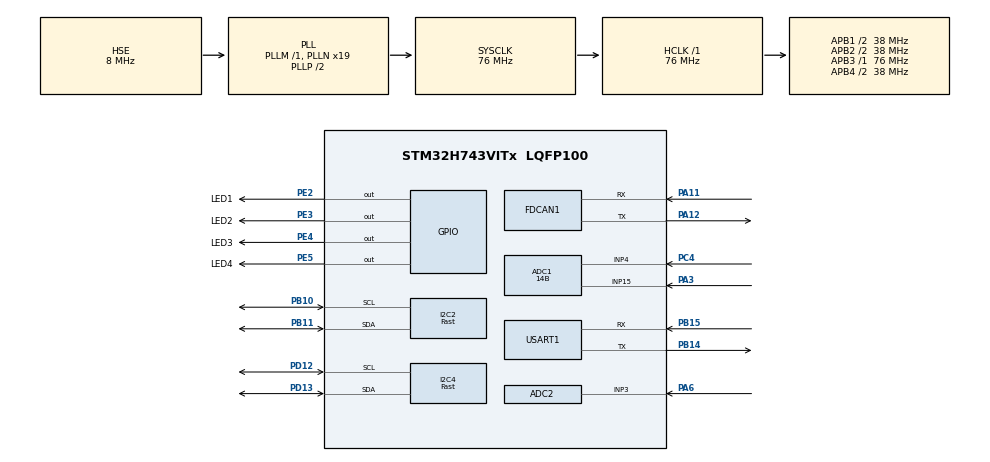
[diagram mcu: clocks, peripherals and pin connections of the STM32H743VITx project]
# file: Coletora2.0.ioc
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ADC1.Channel-0\#ChannelRegularConversion=ADC_CHANNEL_4
ADC1.ClockPrescaler=ADC_CLOCK_ASYNC_DIV6
ADC1.ContinuousConvMode=ENABLE
ADC1.EOCSelection=ADC_EOC_SINGLE_CONV
ADC1.NbrOfConversion=1
ADC1.NbrOfConversionFlag=1
ADC1.OffsetNumber-0\#ChannelRegularConversion=ADC_OFFSET_NONE
ADC1.OffsetSignedSaturation-0\#ChannelRegularConversion=DISABLE
ADC1.Rank-0\#ChannelRegularConversion=1
ADC1.Resolution=ADC_RESOLUTION_14B
ADC1.SamplingTime-0\#ChannelRegularConversion=ADC_SAMPLETIME_32CYCLES_5
ADC1.master=1
ADC2.Channel-1\#ChannelRegularConversion=ADC_CHANNEL_3
ADC2.ClockPrescaler=ADC_CLOCK_ASYNC_DIV6
ADC2.NbrOfConversionFlag=1
ADC2.OffsetNumber-1\#ChannelRegularConversion=ADC_OFFSET_NONE
ADC2.OffsetSignedSaturation-1\#ChannelRegularConversion=DISABLE
ADC2.Rank-1\#ChannelRegularConversion=1
ADC2.Resolution=ADC_RESOLUTION_14B
ADC2.SamplingTime-1\#ChannelRegularConversion=ADC_SAMPLETIME_32CYCLES_5
FDCAN1.DataSyncJumpWidth=2
FDCAN1.DataTimeSeg1=13
FDCAN1.DataTimeSeg2=2
FDCAN1.NominalSyncJumpWidth=2
FDCAN1.NominalTimeSeg1=13
FDCAN1.RxBuffersNbr=64
FDCAN1.RxFifo0ElmtsNbr=64
FDCAN1.RxFifo1ElmtsNbr=64
FDCAN1.TxBuffersNbr=32
FDCAN1.TxEventsNbr=32
FDCAN1.TxFifoQueueElmtsNbr=32
I2C2.CustomTiming=Enabled
I2C2.I2C_Speed_Mode=I2C_Fast
I2C2.Timing=0x009034B6
I2C4.CustomTiming=Enabled
I2C4.I2C_Speed_Mode=I2C_Fast
I2C4.Timing=0x10C0ECFF
Mcu.Family=STM32H7
Mcu.Name=STM32H743VITx
Mcu.Package=LQFP100
NVIC.FDCAN1_IT0_IRQn=true\:0\:0\:true\:false\:true\:true\:true
NVIC.FDCAN1_IT1_IRQn=true\:0\:0\:false\:false\:true\:true\:true
NVIC.PriorityGroup=NVIC_PRIORITYGROUP_4
PA11.Mode=FDCAN_Activate
PA11.Signal=FDCAN1_RX
PA12.Mode=FDCAN_Activate
PA12.Signal=FDCAN1_TX
PA13\ (JTMS/SWDIO).Mode=Serial_Wire
PA13\ (JTMS/SWDIO).Signal=DEBUG_JTMS-SWDIO
PA14\ (JTCK/SWCLK).Mode=Serial_Wire
PA14\ (JTCK/SWCLK).Signal=DEBUG_JTCK-SWCLK
PA3.Signal=ADCx_INP15
PA6.Signal=ADCx_INP3
PB10.GPIO_Pu=GPIO_PULLUP
PB10.Mode=I2C
PB10.Signal=I2C2_SCL
PB11.GPIO_Pu=GPIO_PULLUP
PB11.Mode=I2C
PB11.Signal=I2C2_SDA
PB14.Mode=Asynchronous
PB14.Signal=USART1_TX
PB15.Mode=Asynchronous
PB15.Signal=USART1_RX
PC4.Signal=ADCx_INP4
PD12.GPIO_Pu=GPIO_PULLUP
PD12.Mode=I2C
PD12.Signal=I2C4_SCL
PD13.GPIO_Pu=GPIO_PULLUP
PD13.Mode=I2C
PD13.Signal=I2C4_SDA
PE2.GPIO_Label=LED1
PE2.Signal=GPIO_Output
PE3.GPIO_Label=LED2
PE3.Signal=GPIO_Output
PE4.GPIO_Label=LED3
PE4.Signal=GPIO_Output
PE5.GPIO_Label=LED4
PE5.Signal=GPIO_Output
PH0-OSC_IN\ (PH0).Mode=HSE-External-Oscillator
PH0-OSC_IN\ (PH0).Signal=RCC_OSC_IN
PH1-OSC_OUT\ (PH1).Mode=HSE-External-Oscillator
PH1-OSC_OUT\ (PH1).Signal=RCC_OSC_OUT
ProjectManager.HeapSize=0x200
ProjectManager.StackSize=0x400
ProjectManager.TargetToolchain=STM32CubeIDE
RCC.ADCFreq_Value=37500000
RCC.APB1Freq_Value=38000000
RCC.APB2Freq_Value=38000000
RCC.APB3Freq_Value=76000000
RCC.APB4Freq_Value=38000000
RCC.CortexFreq_Value=76000000
RCC.D2PPRE1=RCC_APB1_DIV2
RCC.D2PPRE2=RCC_APB2_DIV2
RCC.D3PPRE=RCC_APB4_DIV2
RCC.DIVM1=1
RCC.DIVM2=1
RCC.DIVM3=1
RCC.DIVN1=19
RCC.DIVN2=18
RCC.DIVN3=100
RCC.DIVP2=4
RCC.DIVQ1=19
RCC.DIVQ2=4
RCC.FDCANCLockSelection=RCC_FDCANCLKSOURCE_HSE
RCC.HCLKFreq_Value=76000000
RCC.HSE_VALUE=8000000
RCC.PLL1_VCI_Range-AdvancedSettings=RCC_PLL1VCIRANGE_0
RCC.PLL2FRACN=6144
RCC.PLL2_VCI_Range-AdvancedSettings=RCC_PLL2VCIRANGE_0
RCC.PLL3FRACN=0
RCC.PLL3_VCI_Range-AdvancedSettings=RCC_PLL3VCIRANGE_0
RCC.PLLFRACN=0
RCC.PLLSourceVirtual=RCC_PLLSOURCE_HSE
RCC.SYSCLKFreq_VALUE=76000000
RCC.SYSCLKSource=RCC_SYSCLKSOURCE_PLLCLK
RCC.USBFreq_Value=8000000
SH.ADCx_INP15.0=ADC1_INP15,IN15-Single-Ended
SH.ADCx_INP3.0=ADC2_INP3,IN3-Single-Ended
SH.ADCx_INP4.0=ADC1_INP4,IN4-Single-Ended
USART1.VirtualMode-Asynchronous=VM_ASYNC
board=custom

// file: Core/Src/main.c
/* USER CODE BEGIN Header */
/**
  ******************************************************************************
  * @file           : main.c
  * @brief          : Main program body
  ******************************************************************************
  * @attention
  *
  * <h2><center>&copy; Copyright (c) 2021 STMicroelectronics.
  * All rights reserved.</center></h2>
  *
  * This software component is licensed by ST under BSD 3-Clause license,
  * the "License"; You may not use this file except in compliance with the
  * License. You may obtain a copy of the License at:
  *                        opensource.org/licenses/BSD-3-Clause
  *
  ******************************************************************************
  */
/* USER CODE END Header */
#include "main.h"

/* USER CODE BEGIN Includes */
#include <stdarg.h>
#include "adc.h"
#include "general_can.h"
#include "initializers.h"
/* USER CODE END Includes */

ADC_HandleTypeDef hadc1;
ADC_HandleTypeDef hadc2;

FDCAN_HandleTypeDef hfdcan1;

I2C_HandleTypeDef hi2c2;
I2C_HandleTypeDef hi2c4;

UART_HandleTypeDef huart1;

void SystemClock_Config(void);
void PeriphCommonClock_Config(void);
static void MX_GPIO_Init(void);
void MX_ADC1_Init(void);
static void MX_FDCAN1_Init(void);
static void MX_I2C2_Init(void);
static void MX_I2C4_Init(void);
static void MX_USART1_UART_Init(void);
void MX_ADC2_Init(void);

int main(void)
{
  /* USER CODE BEGIN 1 */

	uint16_t ADC_value[4] = {0,0,0,0};
	uint32_t id = 10;
  /* USER CODE END 1 */

  /* MCU Configuration--------------------------------------------------------*/

  /* Reset of all peripherals, Initializes the Flash interface and the Systick. */
  HAL_Init();

  /* Configure the system clock */
  SystemClock_Config();

/* Configure the peripherals common clocks */
  PeriphCommonClock_Config();

  /* Initialize all configured peripherals */
  MX_GPIO_Init();
  MX_ADC1_Init();
  MX_FDCAN1_Init();
  MX_I2C2_Init();
  MX_I2C4_Init();
  MX_USART1_UART_Init();
  MX_ADC2_Init();
  /* USER CODE BEGIN 2 */
  init_CAN();
	HAL_GPIO_TogglePin(LED3_GPIO_Port, LED3_Pin);
  //HAL_ADCEx_Calibration_Start(&hadc1, ADC_LINEAR_CALIB_REG_1_ADDR, ADC_SINGLE_ENDED);
  //HAL_ADCEx_Calibration_Start(&hadc2, ADC_LINEAR_CALIB_REG_2_ADDR, ADC_SINGLE_ENDED);
  /* USER CODE END 2 */

  /* Infinite loop */
   while (1)
  {

    /* USER CODE BEGIN 3 */
	  /****************ADC code**********************/

	   //Time conversion = sample time + 7,5 clocks cycles;
	   //We are using a sample time of 32.5 cycles and a clock of 80MHz, so time conversion is 40 cycles or 0,5µs

	   /*ADC_Select_CH4();
	   HAL_ADC_Start(&hadc1);
	   HAL_ADC_PollForConversion(&hadc1, 0.0005);
	   ADC_value[0] = HAL_ADC_GetValue(&hadc1);
	   UART_print("Leitura canal 4: %d\t", ADC_value[0]);
	   HAL_ADC_Stop(&hadc1);*/

//--------------------------------------------------------------------------

	   //ADC_Select_CH15();
	   //HAL_ADC_Start(&hadc1);
	   //HAL_ADC_PollForConversion(&hadc1, 0.0005);
	   //ADC_value[1] = HAL_ADC_GetValue(&hadc1);
	   //UART_print("Leitura canal 15: %d\t", ADC_value[1]);
//	   ADC_value[0]++;
	   general_can_transmit(id, ADC_value);
	   HAL_Delay(100);
	   //HAL_ADC_Stop(&hadc1);

//--------------------------------------------------------------------------

	   /*HAL_ADC_Start(&hadc2);
	   HAL_ADC_PollForConversion(&hadc2, 0.0005);
	   ADC_value[2] = HAL_ADC_GetValue(&hadc2);
	   UART_print("Leitura adc2: %d\n", ADC_value[2]);
	   HAL_ADC_Stop(&hadc2);*/

	   /**************end ADC code********************/
  }
  /* USER CODE END 3 */
}

void SystemClock_Config(void)
{
  RCC_OscInitTypeDef RCC_OscInitStruct = {0};
  RCC_ClkInitTypeDef RCC_ClkInitStruct = {0};

  /** Supply configuration update enable
  */
  HAL_PWREx_ConfigSupply(PWR_LDO_SUPPLY);
  /** Configure the main internal regulator output voltage
  */
  __HAL_PWR_VOLTAGESCALING_CONFIG(PWR_REGULATOR_VOLTAGE_SCALE3);

  while(!__HAL_PWR_GET_FLAG(PWR_FLAG_VOSRDY)) {}
  /** Macro to configure the PLL clock source
  */
  __HAL_RCC_PLL_PLLSOURCE_CONFIG(RCC_PLLSOURCE_HSE);
  /** Initializes the RCC Oscillators according to the specified parameters
  * in the RCC_OscInitTypeDef structure.
  */
  RCC_OscInitStruct.OscillatorType = RCC_OSCILLATORTYPE_HSE;
  RCC_OscInitStruct.HSEState = RCC_HSE_ON;
  RCC_OscInitStruct.PLL.PLLState = RCC_PLL_ON;
  RCC_OscInitStruct.PLL.PLLSource = RCC_PLLSOURCE_HSE;
  RCC_OscInitStruct.PLL.PLLM = 1;
  RCC_OscInitStruct.PLL.PLLN = 19;
  RCC_OscInitStruct.PLL.PLLP = 2;
  RCC_OscInitStruct.PLL.PLLQ = 19;
  RCC_OscInitStruct.PLL.PLLR = 2;
  RCC_OscInitStruct.PLL.PLLRGE = RCC_PLL1VCIRANGE_3;
  RCC_OscInitStruct.PLL.PLLVCOSEL = RCC_PLL1VCOMEDIUM;
  RCC_OscInitStruct.PLL.PLLFRACN = 0;
  if (HAL_RCC_OscConfig(&RCC_OscInitStruct) != HAL_OK)
  {
    Error_Handler();
  }
  /** Initializes the CPU, AHB and APB buses clocks
  */
  RCC_ClkInitStruct.ClockType = RCC_CLOCKTYPE_HCLK|RCC_CLOCKTYPE_SYSCLK
                              |RCC_CLOCKTYPE_PCLK1|RCC_CLOCKTYPE_PCLK2
                              |RCC_CLOCKTYPE_D3PCLK1|RCC_CLOCKTYPE_D1PCLK1;
  RCC_ClkInitStruct.SYSCLKSource = RCC_SYSCLKSOURCE_PLLCLK;
  RCC_ClkInitStruct.SYSCLKDivider = RCC_SYSCLK_DIV1;
  RCC_ClkInitStruct.AHBCLKDivider = RCC_HCLK_DIV1;
  RCC_ClkInitStruct.APB3CLKDivider = RCC_APB3_DIV1;
  RCC_ClkInitStruct.APB1CLKDivider = RCC_APB1_DIV2;
  RCC_ClkInitStruct.APB2CLKDivider = RCC_APB2_DIV2;
  RCC_ClkInitStruct.APB4CLKDivider = RCC_APB4_DIV2;

  if (HAL_RCC_ClockConfig(&RCC_ClkInitStruct, FLASH_LATENCY_1) != HAL_OK)
  {
    Error_Handler();
  }
}

void PeriphCommonClock_Config(void)
{
  RCC_PeriphCLKInitTypeDef PeriphClkInitStruct = {0};

  /** Initializes the peripherals clock
  */
  PeriphClkInitStruct.PeriphClockSelection = RCC_PERIPHCLK_ADC;
  PeriphClkInitStruct.PLL2.PLL2M = 1;
  PeriphClkInitStruct.PLL2.PLL2N = 18;
  PeriphClkInitStruct.PLL2.PLL2P = 4;
  PeriphClkInitStruct.PLL2.PLL2Q = 4;
  PeriphClkInitStruct.PLL2.PLL2R = 2;
  PeriphClkInitStruct.PLL2.PLL2RGE = RCC_PLL2VCIRANGE_3;
  PeriphClkInitStruct.PLL2.PLL2VCOSEL = RCC_PLL2VCOMEDIUM;
  PeriphClkInitStruct.PLL2.PLL2FRACN = 6144;
  PeriphClkInitStruct.AdcClockSelection = RCC_ADCCLKSOURCE_PLL2;
  if (HAL_RCCEx_PeriphCLKConfig(&PeriphClkInitStruct) != HAL_OK)
  {
    Error_Handler();
  }
}

static void MX_FDCAN1_Init(void)
{

  hfdcan1.Instance = FDCAN1;
  hfdcan1.Init.FrameFormat = FDCAN_FRAME_CLASSIC;
  hfdcan1.Init.Mode = FDCAN_MODE_NORMAL;
  hfdcan1.Init.AutoRetransmission = DISABLE;
  hfdcan1.Init.TransmitPause = DISABLE;
  hfdcan1.Init.ProtocolException = DISABLE;
  hfdcan1.Init.NominalPrescaler = 1;
  hfdcan1.Init.NominalSyncJumpWidth = 2;
  hfdcan1.Init.NominalTimeSeg1 = 13;
  hfdcan1.Init.NominalTimeSeg2 = 2;
  hfdcan1.Init.DataPrescaler = 1;
  hfdcan1.Init.DataSyncJumpWidth = 2;
  hfdcan1.Init.DataTimeSeg1 = 13;
  hfdcan1.Init.DataTimeSeg2 = 2;
  hfdcan1.Init.MessageRAMOffset = 0;
  hfdcan1.Init.StdFiltersNbr = 0;
  hfdcan1.Init.ExtFiltersNbr = 0;
  hfdcan1.Init.RxFifo0ElmtsNbr = 64;
  hfdcan1.Init.RxFifo0ElmtSize = FDCAN_DATA_BYTES_8;
  hfdcan1.Init.RxFifo1ElmtsNbr = 64;
  hfdcan1.Init.RxFifo1ElmtSize = FDCAN_DATA_BYTES_8;
  hfdcan1.Init.RxBuffersNbr = 64;
  hfdcan1.Init.RxBufferSize = FDCAN_DATA_BYTES_8;
  hfdcan1.Init.TxEventsNbr = 32;
  hfdcan1.Init.TxBuffersNbr = 32;
  hfdcan1.Init.TxFifoQueueElmtsNbr = 32;
  hfdcan1.Init.TxFifoQueueMode = FDCAN_TX_FIFO_OPERATION;
  hfdcan1.Init.TxElmtSize = FDCAN_DATA_BYTES_8;
  if (HAL_FDCAN_Init(&hfdcan1) != HAL_OK)
  {
    Error_Handler();
  }

}

static void MX_I2C2_Init(void)
{

  hi2c2.Instance = I2C2;
  hi2c2.Init.Timing = 0x009034B6;
  hi2c2.Init.OwnAddress1 = 0;
  hi2c2.Init.AddressingMode = I2C_ADDRESSINGMODE_7BIT;
  hi2c2.Init.DualAddressMode = I2C_DUALADDRESS_DISABLE;
  hi2c2.Init.OwnAddress2 = 0;
  hi2c2.Init.OwnAddress2Masks = I2C_OA2_NOMASK;
  hi2c2.Init.GeneralCallMode = I2C_GENERALCALL_DISABLE;
  hi2c2.Init.NoStretchMode = I2C_NOSTRETCH_DISABLE;
  if (HAL_I2C_Init(&hi2c2) != HAL_OK)
  {
    Error_Handler();
  }
  /** Configure Analogue filter
  */
  if (HAL_I2CEx_ConfigAnalogFilter(&hi2c2, I2C_ANALOGFILTER_ENABLE) != HAL_OK)
  {
    Error_Handler();
  }
  /** Configure Digital filter
  */
  if (HAL_I2CEx_ConfigDigitalFilter(&hi2c2, 0) != HAL_OK)
  {
    Error_Handler();
  }

}

static void MX_I2C4_Init(void)
{

  hi2c4.Instance = I2C4;
  hi2c4.Init.Timing = 0x10C0ECFF;
  hi2c4.Init.OwnAddress1 = 0;
  hi2c4.Init.AddressingMode = I2C_ADDRESSINGMODE_7BIT;
  hi2c4.Init.DualAddressMode = I2C_DUALADDRESS_DISABLE;
  hi2c4.Init.OwnAddress2 = 0;
  hi2c4.Init.OwnAddress2Masks = I2C_OA2_NOMASK;
  hi2c4.Init.GeneralCallMode = I2C_GENERALCALL_DISABLE;
  hi2c4.Init.NoStretchMode = I2C_NOSTRETCH_DISABLE;
  if (HAL_I2C_Init(&hi2c4) != HAL_OK)
  {
    Error_Handler();
  }
  /** Configure Analogue filter
  */
  if (HAL_I2CEx_ConfigAnalogFilter(&hi2c4, I2C_ANALOGFILTER_ENABLE) != HAL_OK)
  {
    Error_Handler();
  }
  /** Configure Digital filter
  */
  if (HAL_I2CEx_ConfigDigitalFilter(&hi2c4, 0) != HAL_OK)
  {
    Error_Handler();
  }

}

static void MX_USART1_UART_Init(void)
{

  huart1.Instance = USART1;
  huart1.Init.BaudRate = 115200;
  huart1.Init.WordLength = UART_WORDLENGTH_8B;
  huart1.Init.StopBits = UART_STOPBITS_1;
  huart1.Init.Parity = UART_PARITY_NONE;
  huart1.Init.Mode = UART_MODE_TX_RX;
  huart1.Init.HwFlowCtl = UART_HWCONTROL_NONE;
  huart1.Init.OverSampling = UART_OVERSAMPLING_16;
  huart1.Init.OneBitSampling = UART_ONE_BIT_SAMPLE_DISABLE;
  huart1.Init.ClockPrescaler = UART_PRESCALER_DIV1;
  huart1.AdvancedInit.AdvFeatureInit = UART_ADVFEATURE_NO_INIT;
  if (HAL_UART_Init(&huart1) != HAL_OK)
  {
    Error_Handler();
  }
  if (HAL_UARTEx_SetTxFifoThreshold(&huart1, UART_TXFIFO_THRESHOLD_1_8) != HAL_OK)
  {
    Error_Handler();
  }
  if (HAL_UARTEx_SetRxFifoThreshold(&huart1, UART_RXFIFO_THRESHOLD_1_8) != HAL_OK)
  {
    Error_Handler();
  }
  if (HAL_UARTEx_DisableFifoMode(&huart1) != HAL_OK)
  {
    Error_Handler();
  }

}

static void MX_GPIO_Init(void)
{
  GPIO_InitTypeDef GPIO_InitStruct = {0};

  /* GPIO Ports Clock Enable */
  __HAL_RCC_GPIOE_CLK_ENABLE();
  __HAL_RCC_GPIOH_CLK_ENABLE();
  __HAL_RCC_GPIOA_CLK_ENABLE();
  __HAL_RCC_GPIOC_CLK_ENABLE();
  __HAL_RCC_GPIOB_CLK_ENABLE();
  __HAL_RCC_GPIOD_CLK_ENABLE();

  /*Configure GPIO pin Output Level */
  HAL_GPIO_WritePin(GPIOE, LED1_Pin|LED2_Pin|LED3_Pin|LED4_Pin, GPIO_PIN_RESET);

  /*Configure GPIO pins : LED1_Pin LED2_Pin LED3_Pin LED4_Pin */
  GPIO_InitStruct.Pin = LED1_Pin|LED2_Pin|LED3_Pin|LED4_Pin;
  GPIO_InitStruct.Mode = GPIO_MODE_OUTPUT_PP;
  GPIO_InitStruct.Pull = GPIO_NOPULL;
  GPIO_InitStruct.Speed = GPIO_SPEED_FREQ_LOW;
  HAL_GPIO_Init(GPIOE, &GPIO_InitStruct);

}

/* USER CODE BEGIN 4 */
void UART_print(char* format, ...){

	char buffer[100];
	uint8_t size = 0;
	buffer[0] = '\0';

	__va_list argList;

	va_start(argList, format);
	size = vsprintf(buffer, format, argList);

	HAL_StatusTypeDef status =  HAL_UART_Transmit(&huart1, (uint8_t *)buffer, size, 10);

	va_end(argList);

	HAL_GPIO_TogglePin(LED1_GPIO_Port, LED1_Pin);
}
/* USER CODE END 4 */

void Error_Handler(void)
{
  __disable_irq();
  while (1)
  {
  }
}

/************************ (C) COPYRIGHT STMicroelectronics *****END OF FILE****/
